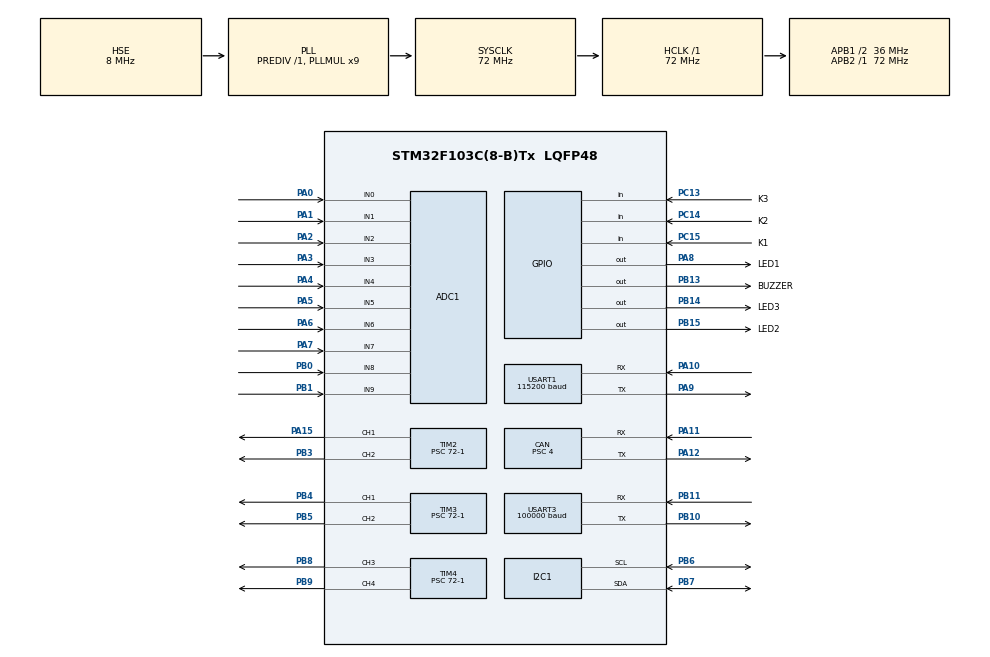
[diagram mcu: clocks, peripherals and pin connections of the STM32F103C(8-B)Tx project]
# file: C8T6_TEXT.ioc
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ADC1.Channel-0\#ChannelRegularConversion=ADC_CHANNEL_0
ADC1.Channel-1\#ChannelRegularConversion=ADC_CHANNEL_1
ADC1.Channel-2\#ChannelRegularConversion=ADC_CHANNEL_2
ADC1.Channel-3\#ChannelRegularConversion=ADC_CHANNEL_3
ADC1.Channel-4\#ChannelRegularConversion=ADC_CHANNEL_4
ADC1.Channel-5\#ChannelRegularConversion=ADC_CHANNEL_5
ADC1.Channel-6\#ChannelRegularConversion=ADC_CHANNEL_6
ADC1.Channel-7\#ChannelRegularConversion=ADC_CHANNEL_7
ADC1.Channel-8\#ChannelRegularConversion=ADC_CHANNEL_8
ADC1.Channel-9\#ChannelRegularConversion=ADC_CHANNEL_9
ADC1.NbrOfConversion=10
ADC1.NbrOfConversionFlag=1
ADC1.Rank-0\#ChannelRegularConversion=1
ADC1.Rank-1\#ChannelRegularConversion=2
ADC1.Rank-2\#ChannelRegularConversion=3
ADC1.Rank-3\#ChannelRegularConversion=4
ADC1.Rank-4\#ChannelRegularConversion=5
ADC1.Rank-5\#ChannelRegularConversion=6
ADC1.Rank-6\#ChannelRegularConversion=7
ADC1.Rank-7\#ChannelRegularConversion=8
ADC1.Rank-8\#ChannelRegularConversion=9
ADC1.Rank-9\#ChannelRegularConversion=10
ADC1.SamplingTime-0\#ChannelRegularConversion=ADC_SAMPLETIME_1CYCLE_5
ADC1.SamplingTime-1\#ChannelRegularConversion=ADC_SAMPLETIME_1CYCLE_5
ADC1.SamplingTime-2\#ChannelRegularConversion=ADC_SAMPLETIME_1CYCLE_5
ADC1.SamplingTime-3\#ChannelRegularConversion=ADC_SAMPLETIME_1CYCLE_5
ADC1.SamplingTime-4\#ChannelRegularConversion=ADC_SAMPLETIME_1CYCLE_5
ADC1.SamplingTime-5\#ChannelRegularConversion=ADC_SAMPLETIME_1CYCLE_5
ADC1.SamplingTime-6\#ChannelRegularConversion=ADC_SAMPLETIME_1CYCLE_5
ADC1.SamplingTime-7\#ChannelRegularConversion=ADC_SAMPLETIME_1CYCLE_5
ADC1.SamplingTime-8\#ChannelRegularConversion=ADC_SAMPLETIME_1CYCLE_5
ADC1.SamplingTime-9\#ChannelRegularConversion=ADC_SAMPLETIME_1CYCLE_5
ADC1.master=1
CAN.BS1=CAN_BS1_7TQ
CAN.CalculateBaudRate=1000000
CAN.CalculateTimeBit=1000
CAN.CalculateTimeQuantum=111.11111111111111
CAN.Prescaler=4
Dma.Request0=USART3_RX
Dma.USART3_RX.0.Direction=DMA_PERIPH_TO_MEMORY
Dma.USART3_RX.0.Instance=DMA1_Channel3
Dma.USART3_RX.0.MemDataAlignment=DMA_MDATAALIGN_BYTE
Dma.USART3_RX.0.MemInc=DMA_MINC_ENABLE
Dma.USART3_RX.0.Mode=DMA_CIRCULAR
Dma.USART3_RX.0.PeriphDataAlignment=DMA_PDATAALIGN_BYTE
Dma.USART3_RX.0.PeriphInc=DMA_PINC_DISABLE
Dma.USART3_RX.0.Priority=DMA_PRIORITY_VERY_HIGH
I2C1.I2C_Mode=I2C_Fast
Mcu.Family=STM32F1
Mcu.Name=STM32F103C(8-B)Tx
Mcu.Package=LQFP48
NVIC.DMA1_Channel3_IRQn=true\:0\:0\:false\:false\:true\:false\:true\:true
NVIC.PriorityGroup=NVIC_PRIORITYGROUP_4
NVIC.TIM1_UP_IRQn=true\:0\:0\:false\:false\:true\:true\:true\:true
NVIC.USB_LP_CAN1_RX0_IRQn=true\:0\:0\:false\:false\:true\:true\:true\:true
PA0-WKUP.Signal=ADCx_IN0
PA1.Signal=ADCx_IN1
PA10.Mode=Asynchronous
PA10.Signal=USART1_RX
PA11.Mode=CAN_Activate
PA11.Signal=CAN_RX
PA12.Mode=CAN_Activate
PA12.Signal=CAN_TX
PA13.Mode=Serial_Wire
PA13.Signal=SYS_JTMS-SWDIO
PA14.Mode=Serial_Wire
PA14.Signal=SYS_JTCK-SWCLK
PA15.Signal=S_TIM2_CH1_ETR
PA2.Signal=ADCx_IN2
PA3.Signal=ADCx_IN3
PA4.Signal=ADCx_IN4
PA5.Signal=ADCx_IN5
PA6.Signal=ADCx_IN6
PA7.Signal=ADCx_IN7
PA8.GPIO_Label=LED1
PA8.Signal=GPIO_Output
PA9.Mode=Asynchronous
PA9.Signal=USART1_TX
PB0.Signal=ADCx_IN8
PB1.Signal=ADCx_IN9
PB10.Mode=Asynchronous
PB10.Signal=USART3_TX
PB11.Mode=Asynchronous
PB11.Signal=USART3_RX
PB13.GPIO_Label=BUZZER
PB13.Signal=GPIO_Output
PB14.GPIO_Label=LED3
PB14.Signal=GPIO_Output
PB15.GPIO_Label=LED2
PB15.Signal=GPIO_Output
PB3.Signal=S_TIM2_CH2
PB4.Signal=S_TIM3_CH1
PB5.Signal=S_TIM3_CH2
PB6.Mode=I2C
PB6.Signal=I2C1_SCL
PB7.Mode=I2C
PB7.Signal=I2C1_SDA
PB8.Signal=S_TIM4_CH3
PB9.Signal=S_TIM4_CH4
PC13-TAMPER-RTC.GPIO_Label=K3
PC13-TAMPER-RTC.GPIO_PuPd=GPIO_PULLUP
PC13-TAMPER-RTC.Signal=GPIO_Input
PC14-OSC32_IN.GPIO_Label=K2
PC14-OSC32_IN.GPIO_PuPd=GPIO_PULLUP
PC14-OSC32_IN.Signal=GPIO_Input
PC15-OSC32_OUT.GPIO_Label=K1
PC15-OSC32_OUT.GPIO_PuPd=GPIO_PULLUP
PC15-OSC32_OUT.Signal=GPIO_Input
PD0-OSC_IN.Mode=HSE-External-Oscillator
PD0-OSC_IN.Signal=RCC_OSC_IN
PD1-OSC_OUT.Mode=HSE-External-Oscillator
PD1-OSC_OUT.Signal=RCC_OSC_OUT
ProjectManager.HeapSize=0x200
ProjectManager.StackSize=0x400
ProjectManager.TargetToolchain=MDK-ARM V5.32
RCC.ADCPresc=RCC_ADCPCLK2_DIV6
RCC.AHBFreq_Value=72000000
RCC.APB1CLKDivider=RCC_HCLK_DIV2
RCC.APB1Freq_Value=36000000
RCC.APB1TimFreq_Value=72000000
RCC.APB2Freq_Value=72000000
RCC.APB2TimFreq_Value=72000000
RCC.HCLKFreq_Value=72000000
RCC.PLLMUL=RCC_PLL_MUL9
RCC.PLLSourceVirtual=RCC_PLLSOURCE_HSE
RCC.SYSCLKFreq_VALUE=72000000
RCC.SYSCLKSource=RCC_SYSCLKSOURCE_PLLCLK
RCC.USBFreq_Value=72000000
SH.ADCx_IN0.0=ADC1_IN0,IN0
SH.ADCx_IN1.0=ADC1_IN1,IN1
SH.ADCx_IN2.0=ADC1_IN2,IN2
SH.ADCx_IN3.0=ADC1_IN3,IN3
SH.ADCx_IN4.0=ADC1_IN4,IN4
SH.ADCx_IN5.0=ADC1_IN5,IN5
SH.ADCx_IN6.0=ADC1_IN6,IN6
SH.ADCx_IN7.0=ADC1_IN7,IN7
SH.ADCx_IN8.0=ADC1_IN8,IN8
SH.ADCx_IN9.0=ADC1_IN9,IN9
SH.S_TIM2_CH1_ETR.0=TIM2_CH1,PWM Generation1 CH1
SH.S_TIM2_CH2.0=TIM2_CH2,PWM Generation2 CH2
SH.S_TIM3_CH1.0=TIM3_CH1,PWM Generation1 CH1
SH.S_TIM3_CH2.0=TIM3_CH2,PWM Generation2 CH2
SH.S_TIM4_CH3.0=TIM4_CH3,PWM Generation3 CH3
SH.S_TIM4_CH4.0=TIM4_CH4,PWM Generation4 CH4
TIM1.Period=10000-1
TIM1.Prescaler=72-1
TIM2.Channel-PWM\ Generation1\ CH1=TIM_CHANNEL_1
TIM2.Channel-PWM\ Generation2\ CH2=TIM_CHANNEL_2
TIM2.Period=20000-1
TIM2.Prescaler=72-1
TIM3.Channel-PWM\ Generation1\ CH1=TIM_CHANNEL_1
TIM3.Channel-PWM\ Generation2\ CH2=TIM_CHANNEL_2
TIM3.Period=20000-1
TIM3.Prescaler=72-1
TIM4.Channel-PWM\ Generation3\ CH3=TIM_CHANNEL_3
TIM4.Channel-PWM\ Generation4\ CH4=TIM_CHANNEL_4
TIM4.Period=20000-1
TIM4.Prescaler=72-1
USART1.BaudRate=115200
USART1.VirtualMode=VM_ASYNC
USART3.BaudRate=100000
USART3.Parity=PARITY_EVEN
USART3.VirtualMode=VM_ASYNC
VP_TIM1_VS_ClockSourceINT.Mode=Internal
VP_TIM2_VS_ClockSourceINT.Mode=Internal
VP_TIM3_VS_ClockSourceINT.Mode=Internal
VP_TIM4_VS_ClockSourceINT.Mode=Internal
board=custom

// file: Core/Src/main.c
/* USER CODE BEGIN Header */
/**
  ******************************************************************************
  * @file           : main.c
  * @brief          : Main program body
  ******************************************************************************
  * @attention
  *
  * Copyright (c) 2023 STMicroelectronics.
  * All rights reserved.
  *
  * This software is licensed under terms that can be found in the LICENSE file
  * in the root directory of this software component.
  * If no LICENSE file comes with this software, it is provided AS-IS.
  *
  ******************************************************************************
  */
/* USER CODE END Header */
#include "main.h"
#include "adc.h"
#include "can.h"
#include "dma.h"
#include "i2c.h"
#include "tim.h"
#include "usart.h"
#include "gpio.h"

/* USER CODE BEGIN Includes */
#include "CAN_receive.h"//通信
#include "bsp_can.h"//硬件初始化，屏蔽
#include "enginer_task.h"//电机参数
#include "pid.h"//闭环控制算法
#include "remote_control.h"//遥控
//#include "openmv.h"//阵营
/* USER CODE END Includes */

void SystemClock_Config(void);
/* USER CODE BEGIN PFP */
fp32 map(fp32 x, fp32 in_min, fp32 in_max, fp32 out_min, fp32 out_max)
{
	return (x - in_min) * (out_max - out_min) / (in_max - in_min) + out_min;
}

//旋转速度转换比例

/**
  * @brief          四个麦轮速度是通过三个参数计算出来的
  * @param[in]      vx_set: 纵向速度
  * @param[in]      vy_set: 横向速度
  * @param[in]      wz_set: 旋转速度
  * @param[out]     wheel_speed: 四个麦轮速度（m/s，需换算）
  * @retval         none
  */

void chassis_vector_to_mecanum_wheel_speed(const float vx_set, const float vy_set, const float wz_set, float wheel_speed[4])
{
    wheel_speed[0] =( -vx_set - vy_set )*0.7f+  wz_set*0.5f;
    wheel_speed[1] = (vx_set - vy_set )*0.7f+   wz_set*0.5f;
    wheel_speed[2] = (vx_set + vy_set)*0.7f +   wz_set*0.5f;
    wheel_speed[3] = (-vx_set + vy_set)*0.7f +  wz_set*0.5f;
}

/* USER CODE END PFP */

/* USER CODE BEGIN 0 */
fp32 M2006_SPEED_pid[3]={M2006_MOTOR_SPEED_PID_KP,M2006_MOTOR_SPEED_PID_KI,M2006_MOTOR_SPEED_PID_KD};    //M2006电机速度环pid
fp32 M2006_POSITION_pid[3]={M2006_MOTOR_POSITION_PID_KP,M2006_MOTOR_POSITION_PID_KI,M2006_MOTOR_POSITION_PID_KD};    //M2006电机位置环pid

fp32 M3508_SPEED_pid[3]={M3508_MOTOR_SPEED_PID_KP,M3508_MOTOR_SPEED_PID_KI,M3508_MOTOR_SPEED_PID_KD};    //M3508电机速度环pid
fp32 M3508_POSITION_pid[3]={M3508_MOTOR_POSITION_PID_KP,M3508_MOTOR_POSITION_PID_KI,M3508_MOTOR_POSITION_PID_KD};    //M3508电机位置环pid

fp32 M6020_SPEED_pid[3]={M6020_MOTOR_SPEED_PID_KP,M6020_MOTOR_SPEED_PID_KI,M6020_MOTOR_SPEED_PID_KD};    //M6020电机速度环pid
fp32 M6020_POSITION_pid[3]={M6020_MOTOR_POSITION_PID_KP,M6020_MOTOR_POSITION_PID_KI,M6020_MOTOR_POSITION_PID_KD};    //M6020电机位置环pid

extern enginer_control_t enginer_move[8];    //电机控制参数结构体变量
extern motor_measure_t motor_can1_data[8];   //can1接收的电机数据
extern uint8_t sbus_rx_buf[SBUS_RX_BUF_NUM];   //遥控器接收缓存数据
extern RC_ctrl_t rc_ctrl;   //遥控器储存结构体变量
extern  uint8_t  can_send_data[8];

uint16_t angle_var = 500,angle_flag = 0;   //舵机变量

float Motor_speed[4];

uint16_t motor_flag = 0;

uint8_t flag_sta = 0;
/* USER CODE END 0 */

int main(void)
{

  /* MCU Configuration--------------------------------------------------------*/

  /* Reset of all peripherals, Initializes the Flash interface and the Systick. */
  HAL_Init();

  /* Configure the system clock */
  SystemClock_Config();

  /* Initialize all configured peripherals */
  MX_GPIO_Init();
  MX_DMA_Init();
  MX_ADC1_Init();
  MX_CAN_Init();
  MX_I2C1_Init();
  MX_TIM2_Init();
  MX_TIM3_Init();
  MX_TIM4_Init();
  MX_USART1_UART_Init();
  MX_USART3_UART_Init();
  MX_TIM1_Init();
  /* USER CODE BEGIN 2 */
	can_filter_init();  //在主函数初始化调用一遍，将CAN屏蔽功能去掉
	HAL_UART_Receive_DMA(&huart3,sbus_rx_buf,18);    //开启串口DMA接收，只需要开一遍就可以轮询接收

	//初始化0号为2006电机
	enginer_init(&enginer_move[0], M2006_SPEED_pid, M2006_POSITION_pid, M2006_MOTOR_SPEED_PID_MAX_OUT, M2006_MOTOR_SPEED_PID_MAX_IOUT, \
								M2006_MOTOR_POSITION_PID_MAX_OUT, M2006_MOTOR_POSITION_PID_MAX_IOUT,0);
//	enginer_init(&enginer_move[0], M3508_SPEED_pid, M3508_POSITION_pid, M3508_MOTOR_SPEED_PID_MAX_OUT, M3508_MOTOR_SPEED_PID_MAX_IOUT, \
//M3508_MOTOR_POSITION_PID_MAX_OUT, M3508_MOTOR_POSITION_PID_MAX_IOUT,0);
	//初始化1号为2006电机
	enginer_init(&enginer_move[1], M2006_SPEED_pid, M2006_POSITION_pid, M2006_MOTOR_SPEED_PID_MAX_OUT, M2006_MOTOR_SPEED_PID_MAX_IOUT, \
								M2006_MOTOR_POSITION_PID_MAX_OUT, M2006_MOTOR_POSITION_PID_MAX_IOUT,1);
//	enginer_init(&enginer_move[1], M3508_SPEED_pid, M3508_POSITION_pid, M3508_MOTOR_SPEED_PID_MAX_OUT, M3508_MOTOR_SPEED_PID_MAX_IOUT, \
//M3508_MOTOR_POSITION_PID_MAX_OUT, M3508_MOTOR_POSITION_PID_MAX_IOUT,1);
	//初始化2号为2006电机
	enginer_init(&enginer_move[2], M2006_SPEED_pid, M2006_POSITION_pid, M2006_MOTOR_SPEED_PID_MAX_OUT, M2006_MOTOR_SPEED_PID_MAX_IOUT, \
								M2006_MOTOR_POSITION_PID_MAX_OUT, M2006_MOTOR_POSITION_PID_MAX_IOUT,2);
//	enginer_init(&enginer_move[2], M3508_SPEED_pid, M3508_POSITION_pid, M3508_MOTOR_SPEED_PID_MAX_OUT, M3508_MOTOR_SPEED_PID_MAX_IOUT, \
//M3508_MOTOR_POSITION_PID_MAX_OUT, M3508_MOTOR_POSITION_PID_MAX_IOUT,2);
	//初始化3号为2006电机
	enginer_init(&enginer_move[3], M2006_SPEED_pid, M2006_POSITION_pid, M2006_MOTOR_SPEED_PID_MAX_OUT, M2006_MOTOR_SPEED_PID_MAX_IOUT, \
								M2006_MOTOR_POSITION_PID_MAX_OUT, M2006_MOTOR_POSITION_PID_MAX_IOUT,3);
//	enginer_init(&enginer_move[3], M3508_SPEED_pid, M3508_POSITION_pid, M3508_MOTOR_SPEED_PID_MAX_OUT, M3508_MOTOR_SPEED_PID_MAX_IOUT, \
//M3508_MOTOR_POSITION_PID_MAX_OUT, M3508_MOTOR_POSITION_PID_MAX_IOUT,3);
        enginer_init(&enginer_move[4], M2006_SPEED_pid, M2006_POSITION_pid, M2006_MOTOR_SPEED_PID_MAX_OUT, M2006_MOTOR_SPEED_PID_MAX_IOUT, \
								M2006_MOTOR_POSITION_PID_MAX_OUT, M2006_MOTOR_POSITION_PID_MAX_IOUT,4);
	//给初值
	enginer_move[0].motor.target_speed = 0.0f;
	enginer_move[1].motor.target_speed = 0.0f;
	enginer_move[2].motor.target_speed = 0.0f;
	enginer_move[3].motor.target_speed = 0.0f;
	enginer_move[4].motor.target_speed = 0.0f;
	//开启定时器1中断
	HAL_TIM_Base_Start_IT(&htim1);

	//开启PWM各通道
	HAL_TIM_Base_Start(&htim2);
	HAL_TIM_PWM_Start(&htim2, TIM_CHANNEL_1);
	HAL_TIM_PWM_Start(&htim2, TIM_CHANNEL_2);

	HAL_TIM_Base_Start(&htim3);
	HAL_TIM_PWM_Start(&htim3, TIM_CHANNEL_1);
	HAL_TIM_PWM_Start(&htim3, TIM_CHANNEL_2);

	HAL_TIM_Base_Start(&htim4);
	HAL_TIM_PWM_Start(&htim4, TIM_CHANNEL_3);
	HAL_TIM_PWM_Start(&htim4, TIM_CHANNEL_4);

	HAL_Delay(500);

  /* USER CODE END 2 */

  /* Infinite loop */
  /* USER CODE BEGIN WHILE */
  while (1)
  {

		if(K1){
			//蜂鸣器呼叫
			HAL_GPIO_WritePin(BUZZER_GPIO_Port,BUZZER_Pin,1);
			//点亮LED灯
			HAL_GPIO_WritePin(LED1_GPIO_Port,LED1_Pin,0);
			HAL_GPIO_WritePin(LED2_GPIO_Port,LED2_Pin,0);
			HAL_GPIO_WritePin(LED3_GPIO_Port,LED3_Pin,0);
		}
		if(K2){
			//蜂鸣器关闭
			HAL_GPIO_WritePin(BUZZER_GPIO_Port,BUZZER_Pin,0);
            //红方
          //  openmv_red(void);
		}
		if(K3){
			//关闭LED灯
			HAL_GPIO_WritePin(LED1_GPIO_Port,LED1_Pin,1);
			HAL_GPIO_WritePin(LED2_GPIO_Port,LED2_Pin,1);
			HAL_GPIO_WritePin(LED3_GPIO_Port,LED3_Pin,1);
            //蓝方

		}

		if(rc_ctrl.rc.s[0] == 2){   //遥控器右拨杆往下 输出速度为0
			enginer_move[0].motor.target_speed = 0.0f;
			enginer_move[1].motor.target_speed = 0.0f;
			enginer_move[2].motor.target_speed = 0.0f;
			enginer_move[3].motor.target_speed = 0.0f;
		}
		else{
			//舵机驱动  500~2500  对应0~180°
			if(angle_flag == 0 && angle_var < 2500){
				angle_var += 10;
			}
			else{
				angle_flag = 1;
			}

			if(angle_flag == 1 && angle_var > 500){
				angle_var -= 10;
			}
			else{
				angle_flag = 0;
			}
			//输出PWM控制舵机
			__HAL_TIM_SetCompare(&htim2, TIM_CHANNEL_1, angle_var);
			__HAL_TIM_SetCompare(&htim2, TIM_CHANNEL_2, angle_var);
			__HAL_TIM_SetCompare(&htim3, TIM_CHANNEL_1, angle_var);
			__HAL_TIM_SetCompare(&htim3, TIM_CHANNEL_2, angle_var);
			__HAL_TIM_SetCompare(&htim4, TIM_CHANNEL_3, angle_var);
			__HAL_TIM_SetCompare(&htim4, TIM_CHANNEL_4, angle_var);

//			//将遥控器通道值映射到2006电机的速度控制
//			enginer_move[0].motor.target_speed = map(rc_ctrl.rc.ch[0], -660, 660, -10000, 10000);
//			enginer_move[1].motor.target_speed = map(rc_ctrl.rc.ch[1], -660, 660, -10000, 10000);
//			enginer_move[2].motor.target_speed = map(rc_ctrl.rc.ch[2], -660, 660, -10000, 10000);
//			enginer_move[3].motor.target_speed = map(rc_ctrl.rc.ch[3], -660, 660, -10000, 10000);

            //斜角平移
//            if(flag_sta == 0){
//               chassis_vector_to_mecanum_wheel_speed(0.0,0.0,-2000.0,Motor_speed);
//            }
//            if(flag_sta == 1){
//                chassis_vector_to_mecanum_wheel_speed(500.0,3000.0,0.0,Motor_speed);
//            }
//            if (flag_sta == 2){
//                chassis_vector_to_mecanum_wheel_speed(0.0,0.0,0.0,Motor_speed);
//            }

//              if(flag_sta == 0){
//               chassis_vector_to_mecanum_wheel_speed(3000.0,0.0,0.0,Motor_speed);
//              }
//             if(flag_sta == 1){
//                 chassis_vector_to_mecanum_wheel_speed(0.0,3000.0,0.0,Motor_speed);
//             }
//             if (flag_sta == 2){
//                 chassis_vector_to_mecanum_wheel_speed(-3000.0,0.0,0.0,Motor_speed);
//             }
//             if(flag_sta == 3){
//                 chassis_vector_to_mecanum_wheel_speed(0.0,-3000.0,0.0,Motor_speed);
//             }
//             if(flag_sta == 4){
//                 chassis_vector_to_mecanum_wheel_speed(0.0,0.0,0.0,Motor_speed);
//
//             }
            //遥控
            enginer_move[0].motor.target_speed = 1000.0f;
//            chassis_vector_to_mecanum_wheel_speed(rc_ctrl.rc.ch[1],-rc_ctrl.rc.ch[0],rc_ctrl.rc.ch[2],Motor_speed);

//			enginer_move[0].motor.target_speed = Motor_speed[0]*8.0f;
//			enginer_move[1].motor.target_speed = Motor_speed[1]*8.0f;
//			enginer_move[2].motor.target_speed = Motor_speed[2]*8.0f;
//			enginer_move[3].motor.target_speed = Motor_speed[3]*8.0f;

		}
//        enginer_move[4].motor.target_speed = 2700.0f;
		HAL_Delay(10);
    /* USER CODE END WHILE */

  }
}

void SystemClock_Config(void)
{
  RCC_OscInitTypeDef RCC_OscInitStruct = {0};
  RCC_ClkInitTypeDef RCC_ClkInitStruct = {0};
  RCC_PeriphCLKInitTypeDef PeriphClkInit = {0};

  /** Initializes the RCC Oscillators according to the specified parameters
  * in the RCC_OscInitTypeDef structure.
  */
  RCC_OscInitStruct.OscillatorType = RCC_OSCILLATORTYPE_HSE;
  RCC_OscInitStruct.HSEState = RCC_HSE_ON;
  RCC_OscInitStruct.HSEPredivValue = RCC_HSE_PREDIV_DIV1;
  RCC_OscInitStruct.HSIState = RCC_HSI_ON;
  RCC_OscInitStruct.PLL.PLLState = RCC_PLL_ON;
  RCC_OscInitStruct.PLL.PLLSource = RCC_PLLSOURCE_HSE;
  RCC_OscInitStruct.PLL.PLLMUL = RCC_PLL_MUL9;
  if (HAL_RCC_OscConfig(&RCC_OscInitStruct) != HAL_OK)
  {
    Error_Handler();
  }

  /** Initializes the CPU, AHB and APB buses clocks
  */
  RCC_ClkInitStruct.ClockType = RCC_CLOCKTYPE_HCLK|RCC_CLOCKTYPE_SYSCLK
                              |RCC_CLOCKTYPE_PCLK1|RCC_CLOCKTYPE_PCLK2;
  RCC_ClkInitStruct.SYSCLKSource = RCC_SYSCLKSOURCE_PLLCLK;
  RCC_ClkInitStruct.AHBCLKDivider = RCC_SYSCLK_DIV1;
  RCC_ClkInitStruct.APB1CLKDivider = RCC_HCLK_DIV2;
  RCC_ClkInitStruct.APB2CLKDivider = RCC_HCLK_DIV1;

  if (HAL_RCC_ClockConfig(&RCC_ClkInitStruct, FLASH_LATENCY_2) != HAL_OK)
  {
    Error_Handler();
  }
  PeriphClkInit.PeriphClockSelection = RCC_PERIPHCLK_ADC;
  PeriphClkInit.AdcClockSelection = RCC_ADCPCLK2_DIV6;
  if (HAL_RCCEx_PeriphCLKConfig(&PeriphClkInit) != HAL_OK)
  {
    Error_Handler();
  }
}

/* USER CODE BEGIN 4 */
//定时溢出中断回调函数
void HAL_TIM_PeriodElapsedCallback(TIM_HandleTypeDef *htim){
	//定时器1专门用于发数据给电机
	if(htim->Instance == TIM1){    //10ms进入1次
//        if(motor_flag  <900){
//        motor_flag++;
//        }
//        if(motor_flag >= 200){
//
//            flag_sta = 1;
//        }
//        if(motor_flag >=400){
//             flag_sta = 2;
//        }
//        if(motor_flag >=600){
//             flag_sta = 3;
//        }
//        if(motor_flag >=800){
//             flag_sta = 4;
//        }
		//PID控制闭环  （电机控制参数结构体变量，控制模式:0速度1角度，电机角度比）
		PIDrealize(&enginer_move[0],0,MOTOR_ECD_TO_ANGLE_2006);
		PIDrealize(&enginer_move[1],0,MOTOR_ECD_TO_ANGLE_2006);
		PIDrealize(&enginer_move[2],0,MOTOR_ECD_TO_ANGLE_2006);
		PIDrealize(&enginer_move[3],0,MOTOR_ECD_TO_ANGLE_2006);
//        PIDrealize(&enginer_move[0],0,MOTOR_ECD_TO_ANGLE_3508);
//		PIDrealize(&enginer_move[1],0,MOTOR_ECD_TO_ANGLE_3508);
//		PIDrealize(&enginer_move[2],0,MOTOR_ECD_TO_ANGLE_3508);
//        PIDrealize(&enginer_move[3],0,MOTOR_ECD_TO_ANGLE_3508);
//		PIDrealize(&enginer_move[4],0,MOTOR_ECD_TO_ANGLE_2006);
		//将解算好的电流发送出去给电机
		CAN1_cmd_0_3(enginer_move[0].motor.give_current,enginer_move[1].motor.give_current,enginer_move[2].motor.give_current,enginer_move[3].motor.give_current);
		CAN1_cmd_4_7(enginer_move[4].motor.give_current,enginer_move[5].motor.give_current,enginer_move[6].motor.give_current,enginer_move[7].motor.give_current);
	}
}
/* USER CODE END 4 */

void Error_Handler(void)
{
  __disable_irq();
  while (1)
  {
  }
}
